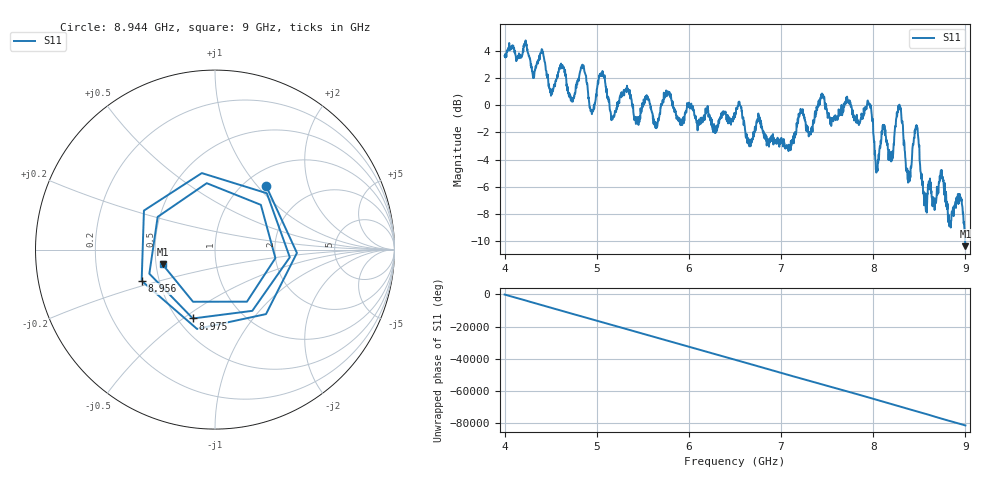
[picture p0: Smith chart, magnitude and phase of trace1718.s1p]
! Created with skrf 1.8.0 (http://scikit-rf.org).
# Hz S RI R 50.0
!freq ReS11 ImS11
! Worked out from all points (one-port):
!   1601 points, 4 GHz to 9 GHz, reference 50 ohm
!   lowest |S11| = -10.4 dB at 9 GHz (marker M1), VSWR 1.87, Z = 27.1 - j4.95 ohm
!   |S11| at or under -10 dB: 8.996881 GHz to end of sweep
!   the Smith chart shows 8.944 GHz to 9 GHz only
!   S11 on the Smith chart (normalised r, x): 8.944 GHz: 1.25, +1.11; 8.956 GHz: 0.40, -0.17; 8.975 GHz: 0.59, -0.54; 9 GHz: 0.54, -0.10
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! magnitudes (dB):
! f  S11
! 4 GHz  3.6
! 4.403 GHz  4.1
! 4.509 GHz  0.8
! 4.625 GHz  2.9
! 4.731 GHz  0.3
! 4.853 GHz  2.9
! 4.947 GHz  -0.7
! 5.05 GHz  2.1
! 5.166 GHz  -1.0
! 5.25 GHz  0.6
! 5.875 GHz  -0.8
! 6.5 GHz  -0.8
! 7.125 GHz  -2.8
! 7.441 GHz  0.5
! 7.75 GHz  0.2
! 7.959 GHz  0.0
! 8.041 GHz  -4.8
! 8.112 GHz  -1.7
! 8.2 GHz  -3.6
! 8.281 GHz  -0.2
! 8.375 GHz  -5.4
! 8.466 GHz  -1.5
! 8.566 GHz  -6.5
! 8.738 GHz  -5.1
! 8.944 GHz  -6.9
! 8.956 GHz  -7.0
! 8.975 GHz  -7.9
! 9 GHz  -10.4
